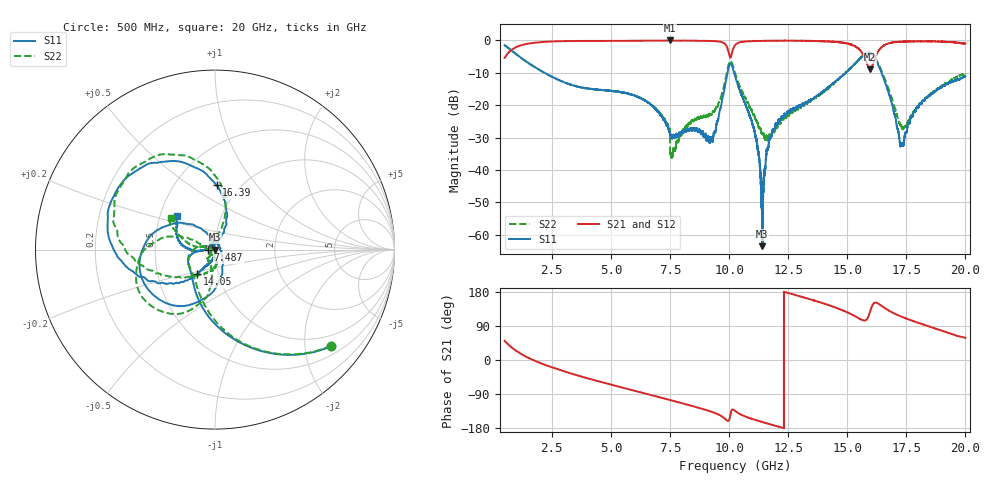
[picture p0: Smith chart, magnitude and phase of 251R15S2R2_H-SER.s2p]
!{251R15S2R2}
!Johanson Technology Inc.
!www.johansontechnology.com
!Test Board Conditions:
!Substrate Type  RO4350B
!Substrate Thickness  20 mil
!Substrate Dk  3.66
!TL Type: GCPW
!TL Trace Width  34 mil
!TL Gap  10 mil
!Electrode orientation  Horizontal
!DUT TOPOLOGY	SERIES
!Mounting Pad LxW  26x52 mil
! Created Thu Mar 12 16:38:33 2020
# mhz S ma R 50
! 2 Port Network Data from SP1.SP block
! freq  magS11  angS11  magS21  angS21  magS12  angS12  magS22  angS22
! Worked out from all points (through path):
!   19501 points, 500 MHz to 20 GHz, reference 50 ohm
!   highest |S21| = -0.03 dB at 7.488 GHz (marker M1); lowest = -8.9 dB at 15.97 GHz (marker M2)
!   group delay of S21, straight-line fit = 44.6 ps
!   lowest |S11| = -63.5 dB at 11.41 GHz (marker M3), VSWR 1.00, Z = 49.9 + j0.0171 ohm
!   |S11| at or under -10 dB: 2.193 GHz to 9.934 GHz (7.741 GHz wide, 128 % of centre); 10.21 GHz to 14.94 GHz (4.726 GHz wide, 37.6 % of centre); 16.45 GHz to end of sweep (the widest 3 of 4)
!   |S22| runs from -36.2 to -1.5 dB; largest |S21 - S12| = 0.019
!   S11 on the Smith chart (normalised r, x): 500 MHz: 0.70, -2.60; 7.487 GHz: 0.93, -0.00; 14.05 GHz: 0.79, -0.22; 16.39 GHz: 0.78, +0.65; 20 GHz: 0.62, +0.25
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500  0.8422 -39.7  0.5361 50.5  0.5377 50.6  0.8397 -39.6
1690  0.4054 -91.2  0.9106 0.4  0.9115 0.3  0.4035 -89.0
3750  0.1876 -134.5  0.9782 -43.7  0.9794 -43.7  0.1867 -130.7
7000  0.07991 -177.7  0.9931 -97.4  0.9934 -97.4  0.08166 167.7
7487  0.03836 -178.3  0.9964 -105.4  0.9956 -105.4  0.04248 154.4
7488  0.03867 -178.4  0.9965 -105.4  0.9952 -105.4  0.04275 154.8
9242  0.03216 13.8  0.9789 -136.3  0.9784 -136.4  0.07109 -117.5
10000  0.4015 -131.4  0.6054 -158.1  0.6064 -157.9  0.4464 -127.8
10250  0.2805 149.7  0.8425 -134.0  0.8434 -134.1  0.3126 169.2
11092  0.0362 104.9  0.9744 -157.8  0.9758 -157.9  0.06511 165.2
11408  0.0006674 165.1  0.9823 -163.7  0.98 -163.7  0.03672 -171.0
11645  0.02203 -90.6  0.985 -168.0  0.9857 -168.0  0.02962 -131.5
11910  0.04228 -99.8  0.9865 -172.8  0.9868 -172.7  0.03856 -101.7
13500  0.1243 -121.6  0.9781 158.9  0.9834 159.0  0.1224 -100.3
14052  0.1699 -125.9  0.9653 148.1  0.9722 148.1  0.1643 -121.0
15323  0.4348 -159.5  0.8155 115.9  0.8156 115.5  0.4338 -169.8
15967  0.6342 140.3  0.3571 127.4  0.3595 127.3  0.6347 132.4
16388  0.3597 88.6  0.7411 145.9  0.7409 146.3  0.3829 86.5
16750  0.1561 65.6  0.9011 130.8  0.896 131.0  0.1775 72.5
17312  0.02544 128.5  0.9546 113.9  0.954 114.2  0.04542 118.7
18138  0.1047 -175.8  0.9675 95.6  0.9646 94.7  0.1093 171.4
20000  0.2789 138.6  0.8965 58.4  0.8942 58.5  0.3035 144.2
